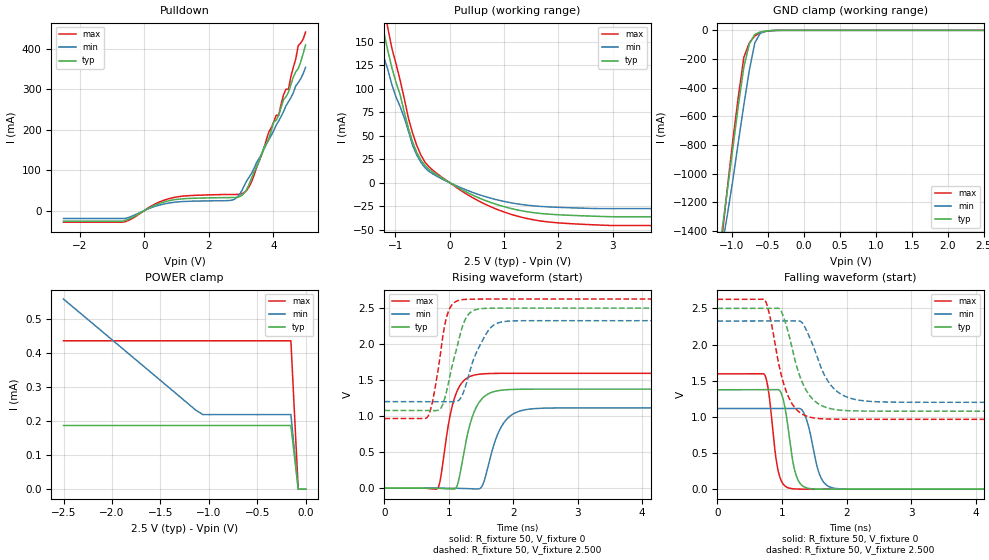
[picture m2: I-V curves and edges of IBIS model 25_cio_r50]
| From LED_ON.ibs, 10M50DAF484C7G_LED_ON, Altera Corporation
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|MODEL 25_cio_r50
[Model]   25_cio_r50
Model_type   I/O
Polarity   Non-Inverting
Enable Active-Low
Vinl   = 0.700
Vinh   = 1.700
Vmeas  = 1.250
Rref   = 10M
Cref   = 0pF
Vref   = 0.000
C_comp 4.5pF   4.5pF   4.5pF
[Model Spec]
Vinh   1.700   1.700   1.700
Vinl   0.700   0.700   0.700
[Temperature Range]   25   85   0
[Voltage Range]   2.500   2.325   2.625
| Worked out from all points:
|   slope of the pulldown table from 0 to 0.375 V, typ, clamps not added: 25.2 ohm
|   slope of the pullup table from 0 to 0.375 V, typ, clamps not added: 31.4 ohm
|   GND clamp passes 1 mA (typ) near -0.44 V on its own axis
|   rising waveform, R_fixture 50, V_fixture 0: 20-80 % time 223ps typ, 255ps min, 194ps max; typ from 0 V to 1.38 V
|   falling waveform, R_fixture 50, V_fixture 0: 20-80 % time 141ps typ, 171ps min, 122ps max; typ from 1.38 V to 0 V
|   rising waveform, R_fixture 50, V_fixture 2.500: 20-80 % time 231ps typ, 289ps min, 175ps max; typ from 1.08 V to 2.5 V
|   falling waveform, R_fixture 50, V_fixture 2.500: 20-80 % time 296ps typ, 340ps min, 254ps max; typ from 2.5 V to 1.08 V
[GND Clamp]
| voltage   I (typ)   I (min)   I (max)
-2.5V     -5.91A     -5.381A    -6.902A
-1.136V   -1.393A    -1.507A    -1.443A
-1.061V   -1.109A    -1.281A    -1.09A
-984.9mV  -816.5mA   -1.039A    -759.1mA
-909.1mV  -519.5mA   -775.8mA   -457.9mA
-833.3mV  -255.4mA   -519.5mA   -186.8mA
-757.6mV  -94.85mA   -278.6mA   -87.18mA
-681.8mV  -28.16mA   -88.05mA   -39.36mA
-606.1mV  -11.9mA    -20.93mA   -18.07mA
-530.3mV  -4.732mA   -6.89mA    -7.206mA
-454.6mV  -1.272mA   -1.883mA   -2.74mA
2.5V      0A         0A         0A
[Pulldown]
| voltage   I (typ)   I (min)   I (max)
-2.5V     -26.09mA   -19.43mA   -28.49mA
-606.1mV  -24.69mA   -19.43mA   -27.68mA
833.3mV   25.48mA    19.58mA    30.82mA
2.727V    32.32mA    26.05mA    39.97mA
3.106V    44mA       62.84mA    45.13mA
3.333V    81.31mA    93.19mA    72.37mA
3.864V    178.4mA    175mA      194.7mA
4.167V    235.3mA    221.3mA    235.4mA
4.318V    274mA      244.3mA    286.1mA
4.47V     292.5mA    268.4mA    299.5mA
4.773V    350.6mA    315.7mA    407mA
5V        408.8mA    353.6mA    440.5mA
[Power Clamp]
| voltage   I (typ)   I (min)   I (max)
-2.5V     186.7uA    557.6uA    435.2uA
-1.136V   186.7uA    232.4uA    435.2uA
-1.061V   186.7uA    218.6uA    435.2uA
-151.5mV  186.7uA    218.6uA    435.2uA
-75.76mV  0A         0A         0A
0V        0A         0A         0A
[Pullup]
| voltage   I (typ)   I (min)   I (max)
-2.5V     446.2mA    356.6mA    512.4mA
-1.439V   206.5mA    173mA      237.2mA
-1.212V   159.9mA    133.7mA    188.1mA
-1.136V   140mA      119.8mA    164.1mA
-757.6mV  57.6mA     54.55mA    68.31mA
-681.8mV  43.2mA     39.51mA    52.54mA
-530.3mV  24.2mA     21.75mA    29.45mA
-303mV    10.93mA    9.035mA    12.83mA
151.5mV   -5.182mA   -4.065mA   -6.24mA
909.1mV   -24.07mA   -18.81mA   -29.31mA
1.667V    -32.77mA   -25.3mA    -40.74mA
5V        -36.3mA    -27.68mA   -45.66mA
[Ramp]
dV/dt_r   8.248e-01/2.233e-10 6.689e-01/2.546e-10 9.566e-01/1.941e-10
dV/dt_f   8.530e-01/2.957e-10 6.743e-01/3.399e-10 9.953e-01/2.540e-10
R_load = 50ohms
[Rising Waveform]
R_fixture   = 50
V_fixture   = 0
V_fixture_min = 0
V_fixture_max = 0
| time   V (typ)   V (min)   V (max)
0s        48.43nV    749.6nV    73.35nV
825ps     -996uV     16.7uV     -4.632mV
873.6ps   -3.945mV   31.05uV    148.5mV
1.012ns   -11.06mV   70.91uV    978.1mV
1.123ns   24.04mV    -1.287mV   1.339V
1.387ns   1.047V     -10.22mV   1.568V
1.525ns   1.252V     46.63mV    1.586V
1.83ns    1.361V     877.4mV    1.594V
2.156ns   1.373V     1.083V     1.594V
6.926ns   1.375V     1.115V     1.594V
[Falling Waveform]
R_fixture   = 50
V_fixture   = 0
V_fixture_min = 0
V_fixture_max = 0
| time   V (typ)   V (min)   V (max)
0s        1.375V     1.115V     1.594V
730.7ps   1.375V     1.115V     1.581V
792.8ps   1.375V     1.115V     1.34V
937.6ps   1.377V     1.115V     262.2mV
1.027ns   1.203V     1.115V     59.12mV
1.117ns   683.6mV    1.115V     12.92mV
1.289ns   68.1mV     1.111V     727.7uV
1.586ns   895.5uV    192.2mV    4.627uV
1.786ns   47.69uV    17.2mV     72.47nV
6.887ns   -391.2nV   580.6nV    134.5nV
[Rising Waveform]
R_fixture   = 50
V_fixture   = 2.500
V_fixture_min   = 2.325
V_fixture_max   = 2.625
| time   V (typ)   V (min)   V (max)
0s        1.078V     1.201V     966mV
679.4ps   1.077V     1.201V     1.002V
755.7ps   1.076V     1.201V     1.243V
866.6ps   1.1V       1.201V     1.855V
963.7ps   1.342V     1.2V       2.372V
1.165ns   2.099V     1.229V     2.609V
1.352ns   2.451V     1.703V     2.624V
1.601ns   2.498V     2.175V     2.625V
1.817ns   2.5V       2.307V     2.625V
6.926ns   2.5V       2.325V     2.625V
[Falling Waveform]
R_fixture   = 50
V_fixture   = 2.500
V_fixture_min   = 2.325
V_fixture_max   = 2.625
| time   V (typ)   V (min)   V (max)
0s        2.5V       2.325V     2.625V
730.7ps   2.5V       2.325V     2.62V
813.5ps   2.5V       2.325V     2.382V
958.2ps   2.496V     2.325V     1.691V
1.068ns   2.253V     2.325V     1.342V
1.262ns   1.597V     2.326V     1.068V
1.427ns   1.295V     2.099V     996.4mV
1.744ns   1.114V     1.451V     968.9mV
2.172ns   1.081V     1.233V     966.1mV
6.887ns   1.078V     1.201V     966mV
